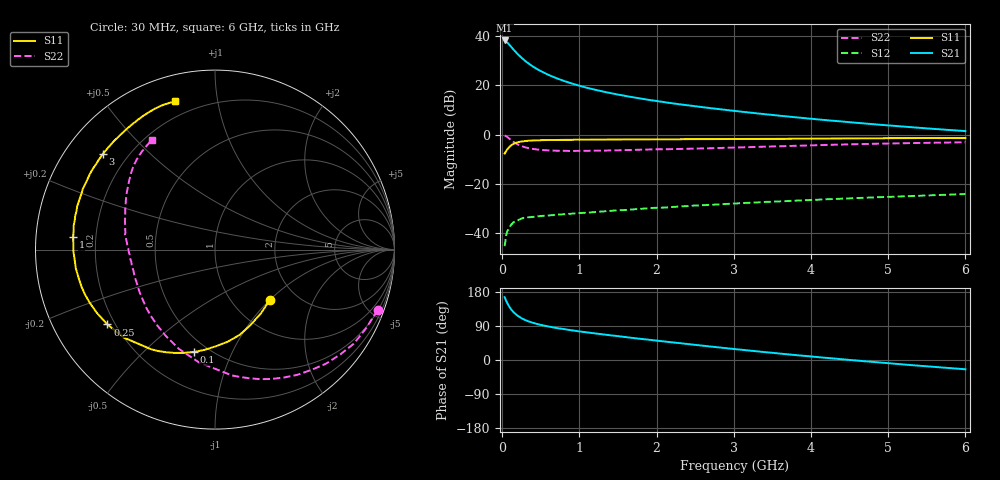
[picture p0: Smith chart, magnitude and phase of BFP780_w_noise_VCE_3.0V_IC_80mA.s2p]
! Infineon Technologies  Discrete & RF Semiconductors
! BFP780
! VCE =  3.0 V,  IC =  80 mA
! Common Emitter S-Parameters:  Jul 2015
# GHz  S  MA  R  50
!  f  S11  S21  S12  S22
! GHz  MAG  ANG  MAG  ANG  MAG  ANG  MAG  ANG
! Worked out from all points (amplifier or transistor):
!   75 points, 30 MHz to 6 GHz, reference 50 ohm
!   highest |S21| = 38.3 dB at 30 MHz (marker M1)
!   |S21| within 3 dB of that: start of sweep to 126.2 MHz
!   unconditionally stable (mu >= 1): 1.79 GHz to end of sweep
!   at 150 MHz: K = 0.15, MSG = 34.9 dB, |S12| = -35.4 dB
!   at 2.3 GHz: K = 1.11, MAG = 18.7 dB, |S12| = -29.1 dB
!   at 6 GHz: K = 1.27, MAG = 9.6 dB, |S12| = -24.0 dB
!   lowest NFmin = 1.80 dB at 450 MHz
!   S11 on the Smith chart (normalised r, x): 30 MHz: 1.48, -1.00; 100 MHz: 0.42, -0.72; 250 MHz: 0.17, -0.31; 1 GHz: 0.11, +0.04; 3 GHz: 0.11, +0.36; 6 GHz: 0.12, +0.76
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0.03  0.4147 -42.5  81.82 165.6  0.0055 79.4  0.9666 -20.4
0.05  0.4649 -64.9  77.81 156.2  0.009 64.2  0.9349 -34.0
0.06  0.4938 -73.6  75.45 152.1  0.0105 68.6  0.9103 -39.9
0.08  0.5381 -89.3  70.13 144.4  0.0119 56.9  0.8589 -51.3
0.1  0.5825 -101.7  64.64 137.9  0.0139 53.3  0.8104 -61.5
0.12  0.6187 -111.5  59.43 132.2  0.0155 47.1  0.7654 -70.6
0.15  0.6598 -122.8  52.51 125.3  0.017 43.6  0.7074 -82.3
0.2  0.7058 -136.0  43.2 116.6  0.0184 36.1  0.6357 -97.9
0.25  0.7306 -145.2  36.39 110.1  0.02 32.2  0.5888 -109.9
0.3  0.7471 -152.0  31.16 105.2  0.0211 29.1  0.5539 -119.6
0.35  0.7587 -157.2  27.18 101.2  0.0212 27.6  0.531 -127.3
0.5  0.7753 -167.6  19.5 92.6  0.0225 24.6  0.4931 -143.5
0.7  0.7842 -176.3  14.06 84.6  0.0238 24.4  0.4742 -156.7
1  0.7945 174.9  9.866 75.5  0.0258 25.3  0.4718 -168.6
1.1  0.7943 172.5  8.95 72.8  0.0263 25.3  0.4716 -171.8
1.5  0.801 164.4  6.531 62.9  0.0294 27.1  0.4837 179.1
2.1  0.8103 153.9  4.582 48.9  0.0333 27.5  0.508 169.2
3  0.8208 139.7  3.061 29.0  0.0402 26.4  0.5499 155.3
3.1  0.8218 138.3  2.938 27.0  0.041 26.0  0.5557 153.8
4.1  0.8354 124.4  2.045 7.4  0.0482 22.7  0.6152 140.9
5.1  0.8536 113.3  1.506 -10.1  0.0557 18.0  0.6691 129.7
6  0.8559 105.2  1.186 -24.5  0.0629 12.8  0.7048 119.7
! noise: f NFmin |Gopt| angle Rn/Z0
0.45  1.8  0.49  -179  0.07
0.9  1.86  0.51  -168  0.08
1.5  1.9  0.53  -160  0.1
1.8  2.09  0.54  -153  0.11
2.4  2.21  0.55  -145  0.16
3  2.48  0.57  -136  0.23
3.5  2.95  0.6  -123  0.36
